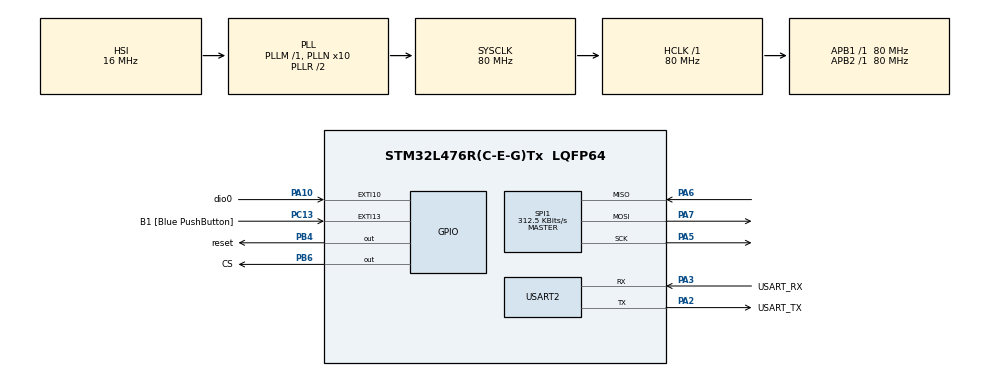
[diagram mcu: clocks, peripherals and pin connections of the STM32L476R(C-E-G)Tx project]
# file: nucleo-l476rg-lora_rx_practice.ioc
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Mcu.Family=STM32L4
Mcu.Name=STM32L476R(C-E-G)Tx
Mcu.Package=LQFP64
NVIC.EXTI15_10_IRQn=true\:0\:0\:false\:false\:true\:true\:true
NVIC.PriorityGroup=NVIC_PRIORITYGROUP_4
PA10.GPIO_Label=dio0
PA10.Signal=GPXTI10
PA13\ (JTMS-SWDIO).GPIO_Label=TMS
PA13\ (JTMS-SWDIO).Mode=Serial_Wire
PA13\ (JTMS-SWDIO).Signal=SYS_JTMS-SWDIO
PA14\ (JTCK-SWCLK).GPIO_Label=TCK
PA14\ (JTCK-SWCLK).Mode=Serial_Wire
PA14\ (JTCK-SWCLK).Signal=SYS_JTCK-SWCLK
PA2.GPIO_Label=USART_TX
PA2.GPIO_Mode=GPIO_MODE_AF_PP
PA2.GPIO_PuPd=GPIO_NOPULL
PA2.GPIO_Speed=GPIO_SPEED_FREQ_VERY_HIGH
PA2.Mode=Asynchronous
PA2.Signal=USART2_TX
PA3.GPIO_Label=USART_RX
PA3.GPIO_Mode=GPIO_MODE_AF_PP
PA3.GPIO_PuPd=GPIO_NOPULL
PA3.GPIO_Speed=GPIO_SPEED_FREQ_VERY_HIGH
PA3.Mode=Asynchronous
PA3.Signal=USART2_RX
PA5.Mode=Full_Duplex_Master
PA5.Signal=SPI1_SCK
PA6.Mode=Full_Duplex_Master
PA6.Signal=SPI1_MISO
PA7.Mode=Full_Duplex_Master
PA7.Signal=SPI1_MOSI
PB3\ (JTDO-TRACESWO).GPIO_Label=SWO
PB3\ (JTDO-TRACESWO).Signal=SYS_JTDO-SWO
PB4\ (NJTRST).GPIO_Label=reset
PB4\ (NJTRST).Signal=GPIO_Output
PB6.GPIO_Label=CS
PB6.Signal=GPIO_Output
PC13.GPIO_Label=B1 [Blue PushButton]
PC13.GPIO_ModeDefaultEXTI=GPIO_MODE_IT_FALLING
PC13.GPIO_PuPd=GPIO_NOPULL
PC13.Signal=GPXTI13
PC14-OSC32_IN\ (PC14).Mode=LSE-External-Oscillator
PC14-OSC32_IN\ (PC14).Signal=RCC_OSC32_IN
PC15-OSC32_OUT\ (PC15).Mode=LSE-External-Oscillator
PC15-OSC32_OUT\ (PC15).Signal=RCC_OSC32_OUT
PH0-OSC_IN\ (PH0).Signal=RCC_OSC_IN
PH1-OSC_OUT\ (PH1).Signal=RCC_OSC_OUT
ProjectManager.HeapSize=0x200
ProjectManager.StackSize=0x400
ProjectManager.TargetToolchain=STM32CubeIDE
RCC.ADCFreq_Value=64000000
RCC.AHBFreq_Value=80000000
RCC.APB1Freq_Value=80000000
RCC.APB1TimFreq_Value=80000000
RCC.APB2Freq_Value=80000000
RCC.APB2TimFreq_Value=80000000
RCC.CortexFreq_Value=80000000
RCC.HCLKFreq_Value=80000000
RCC.HSE_VALUE=8000000
RCC.HSI_VALUE=16000000
RCC.MSI_VALUE=4000000
RCC.PLLN=10
RCC.PLLSourceVirtual=RCC_PLLSOURCE_HSI
RCC.PREFETCH_ENABLE=1
RCC.SYSCLKFreq_VALUE=80000000
RCC.SYSCLKSource=RCC_SYSCLKSOURCE_PLLCLK
RCC.USBFreq_Value=64000000
RCC.VCOOutputFreq_Value=160000000
SPI1.BaudRatePrescaler=SPI_BAUDRATEPRESCALER_256
SPI1.CalculateBaudRate=312.5 KBits/s
SPI1.DataSize=SPI_DATASIZE_8BIT
SPI1.Direction=SPI_DIRECTION_2LINES
SPI1.Mode=SPI_MODE_MASTER
SPI1.VirtualType=VM_MASTER
USART2.VirtualMode-Asynchronous=VM_ASYNC
board=NUCLEO-L476RG

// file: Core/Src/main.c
/* USER CODE BEGIN Header */
/**
  ******************************************************************************
  * @file           : main.c
  * @brief          : Main program body
  ******************************************************************************
  * @attention
  *
  * <h2><center>&copy; Copyright (c) 2021 STMicroelectronics.
  * All rights reserved.</center></h2>
  *
  * This software component is licensed by ST under BSD 3-Clause license,
  * the "License"; You may not use this file except in compliance with the
  * License. You may obtain a copy of the License at:
  *                        opensource.org/licenses/BSD-3-Clause
  *
  ******************************************************************************
  */
/* USER CODE END Header */
#include "main.h"

/* USER CODE BEGIN Includes */
#include <stdlib.h>
#include<stdio.h>
#include <string.h>
#include "LoRa.h"
/* USER CODE END Includes */

SPI_HandleTypeDef hspi1;

UART_HandleTypeDef huart2;

/* USER CODE BEGIN PV */
LoRa myLoRa;
uint8_t read_data[128];
uint8_t send_data[128];
int RSSI; //Global variable for the "Received Signal Strength Indicator"
/* USER CODE END PV */

void SystemClock_Config(void);
static void MX_GPIO_Init(void);
static void MX_USART2_UART_Init(void);
static void MX_SPI1_Init(void);

int main(void)
{

  /* MCU Configuration--------------------------------------------------------*/

  /* Reset of all peripherals, Initializes the Flash interface and the Systick. */
  HAL_Init();

  /* Configure the system clock */
  SystemClock_Config();

  /* Initialize all configured peripherals */
  MX_GPIO_Init();
  MX_USART2_UART_Init();
  MX_SPI1_Init();
  /* USER CODE BEGIN 2 */

  /*
  The following initializes a character buffer called message of size 200.
  It is used for the welcome message. Transmit this welcome message.
  */
  char   message[200]; //
  snprintf(message,sizeof(message),"Starting up CDH-CAPE4 Remote Node-------------------------------------- \n\r");
  HAL_UART_Transmit(&huart2, (uint8_t*)message, strlen(message), 200);

  /* MODULE SETTINGS */
  myLoRa = newLoRa();

  myLoRa.hSPIx                 = &hspi1;
  myLoRa.CS_port               = GPIOB;
  myLoRa.CS_pin                = CS_Pin;
  myLoRa.reset_port            = GPIOB;
  myLoRa.reset_pin             = reset_Pin;
  myLoRa.DIO0_port                         = dio0_GPIO_Port;
  myLoRa.DIO0_pin                             = dio0_Pin;

  myLoRa.frequency             = 433;                              // default = 433 MHz
  myLoRa.spredingFactor        = SF_7;                            // default = SF_7
  myLoRa.bandWidth                   = BW_62_5KHz;                  // default = BW_125KHz
  myLoRa.crcRate                       = CR_4_5;                        // default = CR_4_5
  myLoRa.power                           = POWER_20db;                // default = 20db
  myLoRa.overCurrentProtection = 120;                             // default = 100 mA
  myLoRa.preamble                       = 10;                              // default = 8;

  LoRa_reset(&myLoRa);
  LoRa_init(&myLoRa);

  /* START CONTINUOUS RECEIVING */
  LoRa_startReceiving(&myLoRa);

  /* USER CODE END 2 */

  /* Infinite loop */
  while (1)
  {

  }
}

void SystemClock_Config(void)
{
  RCC_OscInitTypeDef RCC_OscInitStruct = {0};
  RCC_ClkInitTypeDef RCC_ClkInitStruct = {0};

  /** Configure the main internal regulator output voltage
  */
  if (HAL_PWREx_ControlVoltageScaling(PWR_REGULATOR_VOLTAGE_SCALE1) != HAL_OK)
  {
    Error_Handler();
  }
  /** Initializes the RCC Oscillators according to the specified parameters
  * in the RCC_OscInitTypeDef structure.
  */
  RCC_OscInitStruct.OscillatorType = RCC_OSCILLATORTYPE_HSI;
  RCC_OscInitStruct.HSIState = RCC_HSI_ON;
  RCC_OscInitStruct.HSICalibrationValue = RCC_HSICALIBRATION_DEFAULT;
  RCC_OscInitStruct.PLL.PLLState = RCC_PLL_ON;
  RCC_OscInitStruct.PLL.PLLSource = RCC_PLLSOURCE_HSI;
  RCC_OscInitStruct.PLL.PLLM = 1;
  RCC_OscInitStruct.PLL.PLLN = 10;
  RCC_OscInitStruct.PLL.PLLP = RCC_PLLP_DIV7;
  RCC_OscInitStruct.PLL.PLLQ = RCC_PLLQ_DIV2;
  RCC_OscInitStruct.PLL.PLLR = RCC_PLLR_DIV2;
  if (HAL_RCC_OscConfig(&RCC_OscInitStruct) != HAL_OK)
  {
    Error_Handler();
  }
  /** Initializes the CPU, AHB and APB buses clocks
  */
  RCC_ClkInitStruct.ClockType = RCC_CLOCKTYPE_HCLK|RCC_CLOCKTYPE_SYSCLK
                              |RCC_CLOCKTYPE_PCLK1|RCC_CLOCKTYPE_PCLK2;
  RCC_ClkInitStruct.SYSCLKSource = RCC_SYSCLKSOURCE_PLLCLK;
  RCC_ClkInitStruct.AHBCLKDivider = RCC_SYSCLK_DIV1;
  RCC_ClkInitStruct.APB1CLKDivider = RCC_HCLK_DIV1;
  RCC_ClkInitStruct.APB2CLKDivider = RCC_HCLK_DIV1;

  if (HAL_RCC_ClockConfig(&RCC_ClkInitStruct, FLASH_LATENCY_4) != HAL_OK)
  {
    Error_Handler();
  }
}

static void MX_SPI1_Init(void)
{

  /* SPI1 parameter configuration*/
  hspi1.Instance = SPI1;
  hspi1.Init.Mode = SPI_MODE_MASTER;
  hspi1.Init.Direction = SPI_DIRECTION_2LINES;
  hspi1.Init.DataSize = SPI_DATASIZE_8BIT;
  hspi1.Init.CLKPolarity = SPI_POLARITY_LOW;
  hspi1.Init.CLKPhase = SPI_PHASE_1EDGE;
  hspi1.Init.NSS = SPI_NSS_SOFT;
  hspi1.Init.BaudRatePrescaler = SPI_BAUDRATEPRESCALER_256;
  hspi1.Init.FirstBit = SPI_FIRSTBIT_MSB;
  hspi1.Init.TIMode = SPI_TIMODE_DISABLE;
  hspi1.Init.CRCCalculation = SPI_CRCCALCULATION_DISABLE;
  hspi1.Init.CRCPolynomial = 7;
  hspi1.Init.CRCLength = SPI_CRC_LENGTH_DATASIZE;
  hspi1.Init.NSSPMode = SPI_NSS_PULSE_ENABLE;
  if (HAL_SPI_Init(&hspi1) != HAL_OK)
  {
    Error_Handler();
  }

}

static void MX_USART2_UART_Init(void)
{

  huart2.Instance = USART2;
  huart2.Init.BaudRate = 115200;
  huart2.Init.WordLength = UART_WORDLENGTH_8B;
  huart2.Init.StopBits = UART_STOPBITS_1;
  huart2.Init.Parity = UART_PARITY_NONE;
  huart2.Init.Mode = UART_MODE_TX_RX;
  huart2.Init.HwFlowCtl = UART_HWCONTROL_NONE;
  huart2.Init.OverSampling = UART_OVERSAMPLING_16;
  huart2.Init.OneBitSampling = UART_ONE_BIT_SAMPLE_DISABLE;
  huart2.AdvancedInit.AdvFeatureInit = UART_ADVFEATURE_NO_INIT;
  if (HAL_UART_Init(&huart2) != HAL_OK)
  {
    Error_Handler();
  }

}

static void MX_GPIO_Init(void)
{
  GPIO_InitTypeDef GPIO_InitStruct = {0};

  /* GPIO Ports Clock Enable */
  __HAL_RCC_GPIOC_CLK_ENABLE();
  __HAL_RCC_GPIOH_CLK_ENABLE();
  __HAL_RCC_GPIOA_CLK_ENABLE();
  __HAL_RCC_GPIOB_CLK_ENABLE();

  /*Configure GPIO pin Output Level */
  HAL_GPIO_WritePin(GPIOB, reset_Pin|CS_Pin, GPIO_PIN_RESET);

  /*Configure GPIO pin : B1_Pin */
  GPIO_InitStruct.Pin = B1_Pin;
  GPIO_InitStruct.Mode = GPIO_MODE_IT_FALLING;
  GPIO_InitStruct.Pull = GPIO_NOPULL;
  HAL_GPIO_Init(B1_GPIO_Port, &GPIO_InitStruct);

  /*Configure GPIO pin : dio0_Pin */
  GPIO_InitStruct.Pin = dio0_Pin;
  GPIO_InitStruct.Mode = GPIO_MODE_IT_RISING;
  GPIO_InitStruct.Pull = GPIO_NOPULL;
  HAL_GPIO_Init(dio0_GPIO_Port, &GPIO_InitStruct);

  /*Configure GPIO pins : reset_Pin CS_Pin */
  GPIO_InitStruct.Pin = reset_Pin|CS_Pin;
  GPIO_InitStruct.Mode = GPIO_MODE_OUTPUT_PP;
  GPIO_InitStruct.Pull = GPIO_NOPULL;
  GPIO_InitStruct.Speed = GPIO_SPEED_FREQ_LOW;
  HAL_GPIO_Init(GPIOB, &GPIO_InitStruct);

  /* EXTI interrupt init*/
  HAL_NVIC_SetPriority(EXTI15_10_IRQn, 0, 0);
  HAL_NVIC_EnableIRQ(EXTI15_10_IRQn);

}

/* USER CODE BEGIN 4 */

/*
When the radio receives a package, the DIO pin, the interrupt pin, gets a signal. Execute this function at that time.
This function gets called any time the radio receives a transmission from another node.
*/
void HAL_GPIO_EXTI_Callback(uint16_t GPIO_Pin)
{
  /*
  So we're on the receiver board. Running our while loop code, doing our thing.
  Then our receiver receives a signal of the DIO pin. This interrupt occurs. This function runs.
  */

    uint8_t message[100]; //Local buffer used for displaying general messages.
    int rssi = LoRa_getRSSI(&myLoRa); //Local variable for the "Received Signal Strength Indicator"

    char* received_data[30]; //Initialize/create a pointer to a character buffer called received_data of size 30.
    memset(received_data,0,30); //Copies 0 to all 30 cells of my reveived_data buffer. Clear the data everytime I get new data.

    /*
    Initialization of the variable packet-size.
    Setting it equal to the size of the data that was received.
    And call the function LoRa_receive.
    */
    uint8_t packet_size = 0;
    packet_size = LoRa_receive(&myLoRa, received_data, 30);

    /*
    Transmit the value of the Received Signal Strength Indicator.
    */
    snprintf(message,sizeof(message),"RSSI value: %d\n\r",rssi);
    HAL_UART_Transmit(&huart2, message, strlen(message), 200);

    /*
    Transmit the received data.
    */
    snprintf(message,sizeof(message),"%s\n\r",received_data);
    HAL_UART_Transmit(&huart2, message, strlen(message), 200);

    /*
    Transmit that an interrupt has been executed.
    */
    snprintf(message,sizeof(message),"Interrupt has been executed.\n\r");//28 chars
    HAL_UART_Transmit(&huart2, (uint8_t*)message, strlen(message), 200);

}

/* USER CODE END 4 */

void Error_Handler(void)
{
  __disable_irq();
  while (1)
  {
  }
}

/************************ (C) COPYRIGHT STMicroelectronics *****END OF FILE****/
